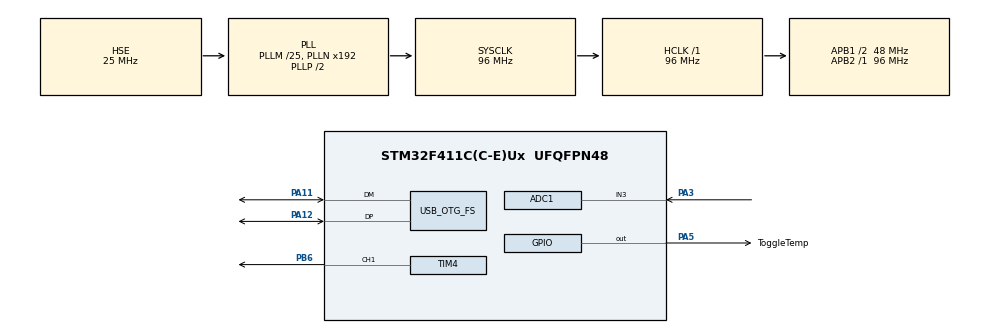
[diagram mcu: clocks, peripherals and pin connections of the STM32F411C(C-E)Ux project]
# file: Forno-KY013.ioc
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ADC1.Channel-3\#ChannelRegularConversion=ADC_CHANNEL_3
ADC1.NbrOfConversionFlag=1
ADC1.Rank-3\#ChannelRegularConversion=1
ADC1.Resolution=ADC_RESOLUTION_12B
ADC1.SamplingTime-3\#ChannelRegularConversion=ADC_SAMPLETIME_15CYCLES
ADC1.master=1
Mcu.Family=STM32F4
Mcu.Name=STM32F411C(C-E)Ux
Mcu.Package=UFQFPN48
NVIC.ADC_IRQn=true\:0\:0\:false\:false\:true\:true\:true\:true
NVIC.OTG_FS_IRQn=true\:0\:0\:false\:false\:true\:true\:true\:true
NVIC.PriorityGroup=NVIC_PRIORITYGROUP_4
NVIC.TIM4_IRQn=true\:0\:0\:false\:false\:true\:true\:true\:true
PA11.Mode=Device_Only
PA11.Signal=USB_OTG_FS_DM
PA12.Mode=Device_Only
PA12.Signal=USB_OTG_FS_DP
PA13.Mode=Serial_Wire
PA13.Signal=SYS_JTMS-SWDIO
PA14.Mode=Serial_Wire
PA14.Signal=SYS_JTCK-SWCLK
PA3.Signal=ADCx_IN3
PA5.GPIO_Label=ToggleTemp
PA5.Signal=GPIO_Output
PB6.Signal=S_TIM4_CH1
PC14-OSC32_IN.Mode=LSE-External-Oscillator
PC14-OSC32_IN.Signal=RCC_OSC32_IN
PC15-OSC32_OUT.Mode=LSE-External-Oscillator
PC15-OSC32_OUT.Signal=RCC_OSC32_OUT
PH0\ -\ OSC_IN.Mode=HSE-External-Oscillator
PH0\ -\ OSC_IN.Signal=RCC_OSC_IN
PH1\ -\ OSC_OUT.Mode=HSE-External-Oscillator
PH1\ -\ OSC_OUT.Signal=RCC_OSC_OUT
ProjectManager.HeapSize=0x200
ProjectManager.StackSize=0x400
ProjectManager.TargetToolchain=Makefile
RCC.48MHZClocksFreq_Value=48000000
RCC.AHBFreq_Value=96000000
RCC.APB1CLKDivider=RCC_HCLK_DIV2
RCC.APB1Freq_Value=48000000
RCC.APB1TimFreq_Value=96000000
RCC.APB2Freq_Value=96000000
RCC.APB2TimFreq_Value=96000000
RCC.CortexFreq_Value=96000000
RCC.HCLKFreq_Value=96000000
RCC.HSE_VALUE=25000000
RCC.HSI_VALUE=16000000
RCC.PLLM=25
RCC.SYSCLKFreq_VALUE=96000000
RCC.SYSCLKSource=RCC_SYSCLKSOURCE_PLLCLK
RCC.VCOOutputFreq_Value=192000000
SH.ADCx_IN3.0=ADC1_IN3,IN3
SH.S_TIM4_CH1.0=TIM4_CH1,PWM Generation1 CH1
TIM4.Channel-PWM\ Generation1\ CH1=TIM_CHANNEL_1
TIM4.Period=10000
TIM4.Prescaler=9600-1
USB_DEVICE.CLASS_NAME_FS=CDC
USB_DEVICE.VirtualMode=Cdc
USB_DEVICE.VirtualModeFS=Cdc_FS
USB_OTG_FS.VirtualMode=Device_Only
VP_TIM4_VS_ClockSourceINT.Mode=Internal
VP_USB_DEVICE_VS_USB_DEVICE_CDC_FS.Mode=CDC_FS
board=custom

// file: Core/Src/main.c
/* USER CODE BEGIN Header */
/**
  ******************************************************************************
  * @file           : main.c
  * @brief          : Main program body
  ******************************************************************************
  * @attention
  *
  * Copyright (c) 2022 STMicroelectronics.
  * All rights reserved.
  *
  * This software is licensed under terms that can be found in the LICENSE file
  * in the root directory of this software component.
  * If no LICENSE file comes with this software, it is provided AS-IS.
  *
  ******************************************************************************
  */
/* USER CODE END Header */
#include "main.h"
#include "usb_device.h"

/* USER CODE BEGIN Includes */
#include "usbd_cdc_if.h"
#include "termistor.h"
#include <stdio.h>
/* USER CODE END Includes */

ADC_HandleTypeDef hadc1;

TIM_HandleTypeDef htim4;

/* USER CODE BEGIN PV */
int segundos;
float KErro = 1, ErroTemp, ValTemp, ValTemp_mV;
uint8_t bufferS[64], bufferT[64], LimTemp = 45;
uint16_t ValTempADC;

/* USER CODE END PV */

void SystemClock_Config(void);
static void MX_GPIO_Init(void);
static void MX_ADC1_Init(void);
static void MX_TIM4_Init(void);

int main(void)
{

  /* MCU Configuration--------------------------------------------------------*/

  /* Reset of all peripherals, Initializes the Flash interface and the Systick. */
  HAL_Init();

  /* Configure the system clock */
  SystemClock_Config();

  /* Initialize all configured peripherals */
  MX_GPIO_Init();
  MX_USB_DEVICE_Init();
  MX_ADC1_Init();
  MX_TIM4_Init();
  /* USER CODE BEGIN 2 */
  HAL_TIM_PWM_Start(&htim4, TIM_CHANNEL_1); // Inicia o PWM no canal 1 (CCR1)
  HAL_TIM_Base_Start_IT(&htim4); // Permite que o Timer 3 faça interrupções periódicas (configurado para cada 1000ms)
  /* USER CODE END 2 */

  /* Infinite loop */
  /* USER CODE BEGIN WHILE */
  while (1)
  {
    // Altera Limites de Temperatura via USB CDC:
    if (bufferS[0] != 0)
      LimTemp += (bufferS[0] == 43)*(5)+(bufferS[0] == 45)*(-5);
      // Reduzindo qtde ifs usando aritmética booleana, visando diminuir tempo de execução

    bufferS[0] = 0; // Estranhamente necessario zerar o bufferS para nova leitura apesar de ja ser feito na rotina de recepção do CDC

    /* USER CODE END WHILE */

  }
}

void SystemClock_Config(void)
{
  RCC_OscInitTypeDef RCC_OscInitStruct = {0};
  RCC_ClkInitTypeDef RCC_ClkInitStruct = {0};

  /** Configure the main internal regulator output voltage
  */
  __HAL_RCC_PWR_CLK_ENABLE();
  __HAL_PWR_VOLTAGESCALING_CONFIG(PWR_REGULATOR_VOLTAGE_SCALE1);

  /** Initializes the RCC Oscillators according to the specified parameters
  * in the RCC_OscInitTypeDef structure.
  */
  RCC_OscInitStruct.OscillatorType = RCC_OSCILLATORTYPE_HSE;
  RCC_OscInitStruct.HSEState = RCC_HSE_ON;
  RCC_OscInitStruct.PLL.PLLState = RCC_PLL_ON;
  RCC_OscInitStruct.PLL.PLLSource = RCC_PLLSOURCE_HSE;
  RCC_OscInitStruct.PLL.PLLM = 25;
  RCC_OscInitStruct.PLL.PLLN = 192;
  RCC_OscInitStruct.PLL.PLLP = RCC_PLLP_DIV2;
  RCC_OscInitStruct.PLL.PLLQ = 4;
  if (HAL_RCC_OscConfig(&RCC_OscInitStruct) != HAL_OK)
  {
    Error_Handler();
  }

  /** Initializes the CPU, AHB and APB buses clocks
  */
  RCC_ClkInitStruct.ClockType = RCC_CLOCKTYPE_HCLK|RCC_CLOCKTYPE_SYSCLK
                              |RCC_CLOCKTYPE_PCLK1|RCC_CLOCKTYPE_PCLK2;
  RCC_ClkInitStruct.SYSCLKSource = RCC_SYSCLKSOURCE_PLLCLK;
  RCC_ClkInitStruct.AHBCLKDivider = RCC_SYSCLK_DIV1;
  RCC_ClkInitStruct.APB1CLKDivider = RCC_HCLK_DIV2;
  RCC_ClkInitStruct.APB2CLKDivider = RCC_HCLK_DIV1;

  if (HAL_RCC_ClockConfig(&RCC_ClkInitStruct, FLASH_LATENCY_3) != HAL_OK)
  {
    Error_Handler();
  }
}

static void MX_ADC1_Init(void)
{

  ADC_ChannelConfTypeDef sConfig = {0};

  /** Configure the global features of the ADC (Clock, Resolution, Data Alignment and number of conversion)
  */
  hadc1.Instance = ADC1;
  hadc1.Init.ClockPrescaler = ADC_CLOCK_SYNC_PCLK_DIV4;
  hadc1.Init.Resolution = ADC_RESOLUTION_12B;
  hadc1.Init.ScanConvMode = DISABLE;
  hadc1.Init.ContinuousConvMode = DISABLE;
  hadc1.Init.DiscontinuousConvMode = DISABLE;
  hadc1.Init.ExternalTrigConvEdge = ADC_EXTERNALTRIGCONVEDGE_NONE;
  hadc1.Init.ExternalTrigConv = ADC_SOFTWARE_START;
  hadc1.Init.DataAlign = ADC_DATAALIGN_RIGHT;
  hadc1.Init.NbrOfConversion = 1;
  hadc1.Init.DMAContinuousRequests = DISABLE;
  hadc1.Init.EOCSelection = ADC_EOC_SINGLE_CONV;
  if (HAL_ADC_Init(&hadc1) != HAL_OK)
  {
    Error_Handler();
  }

  /** Configure for the selected ADC regular channel its corresponding rank in the sequencer and its sample time.
  */
  sConfig.Channel = ADC_CHANNEL_3;
  sConfig.Rank = 1;
  sConfig.SamplingTime = ADC_SAMPLETIME_15CYCLES;
  if (HAL_ADC_ConfigChannel(&hadc1, &sConfig) != HAL_OK)
  {
    Error_Handler();
  }

}

static void MX_TIM4_Init(void)
{

  TIM_ClockConfigTypeDef sClockSourceConfig = {0};
  TIM_MasterConfigTypeDef sMasterConfig = {0};
  TIM_OC_InitTypeDef sConfigOC = {0};

  htim4.Instance = TIM4;
  htim4.Init.Prescaler = 9600-1;
  htim4.Init.CounterMode = TIM_COUNTERMODE_UP;
  htim4.Init.Period = 10000;
  htim4.Init.ClockDivision = TIM_CLOCKDIVISION_DIV1;
  htim4.Init.AutoReloadPreload = TIM_AUTORELOAD_PRELOAD_DISABLE;
  if (HAL_TIM_Base_Init(&htim4) != HAL_OK)
  {
    Error_Handler();
  }
  sClockSourceConfig.ClockSource = TIM_CLOCKSOURCE_INTERNAL;
  if (HAL_TIM_ConfigClockSource(&htim4, &sClockSourceConfig) != HAL_OK)
  {
    Error_Handler();
  }
  if (HAL_TIM_PWM_Init(&htim4) != HAL_OK)
  {
    Error_Handler();
  }
  sMasterConfig.MasterOutputTrigger = TIM_TRGO_RESET;
  sMasterConfig.MasterSlaveMode = TIM_MASTERSLAVEMODE_DISABLE;
  if (HAL_TIMEx_MasterConfigSynchronization(&htim4, &sMasterConfig) != HAL_OK)
  {
    Error_Handler();
  }
  sConfigOC.OCMode = TIM_OCMODE_PWM1;
  sConfigOC.Pulse = 0;
  sConfigOC.OCPolarity = TIM_OCPOLARITY_HIGH;
  sConfigOC.OCFastMode = TIM_OCFAST_DISABLE;
  if (HAL_TIM_PWM_ConfigChannel(&htim4, &sConfigOC, TIM_CHANNEL_1) != HAL_OK)
  {
    Error_Handler();
  }
  HAL_TIM_MspPostInit(&htim4);

}

static void MX_GPIO_Init(void)
{
  GPIO_InitTypeDef GPIO_InitStruct = {0};

  /* GPIO Ports Clock Enable */
  __HAL_RCC_GPIOC_CLK_ENABLE();
  __HAL_RCC_GPIOH_CLK_ENABLE();
  __HAL_RCC_GPIOA_CLK_ENABLE();
  __HAL_RCC_GPIOB_CLK_ENABLE();

  /*Configure GPIO pin Output Level */
  HAL_GPIO_WritePin(ToggleTemp_GPIO_Port, ToggleTemp_Pin, GPIO_PIN_RESET);

  /*Configure GPIO pin : ToggleTemp_Pin */
  GPIO_InitStruct.Pin = ToggleTemp_Pin;
  GPIO_InitStruct.Mode = GPIO_MODE_OUTPUT_PP;
  GPIO_InitStruct.Pull = GPIO_NOPULL;
  GPIO_InitStruct.Speed = GPIO_SPEED_FREQ_LOW;
  HAL_GPIO_Init(ToggleTemp_GPIO_Port, &GPIO_InitStruct);

}

/* USER CODE BEGIN 4 */
void HAL_TIM_PeriodElapsedCallback (TIM_HandleTypeDef * htim) // É chamada à cada 1000ms == 1s
{
  if (htim->Instance == TIM4)
  {
    segundos++;

    // Leitura de Temperatura via ADC:
    HAL_GPIO_WritePin(GPIOA, ToggleTemp_Pin, 1); // Sinaliza inicio de leitura temp

    HAL_ADC_Start(&hadc1); // Inicia a conversão AD
    HAL_ADC_PollForConversion(&hadc1, 100); // Aguarda a conversão completar (timeout 100ms)
    ValTempADC = HAL_ADC_GetValue(&hadc1); // Lê o valor convertido (0-4095)

    //HAL_GPIO_WritePin(GPIOA, ToggleTemp_Pin, 0); // Sinaliza fim de leitura temp

    // Converte o valor lido para temperatura em graus Celsius
    ValTemp_mV = ((ValTempADC) / 4095.0) * 3300.0; // Converte para milivolts (considerando Vref = 3.3V)
    ValTemp = DividerVoltageToDegreesCelsius(3300.0, ValTemp_mV); // Calcula a temperatura

    ErroTemp = LimTemp - ValTemp;

    //Lida com os valores lidos de temperatura:
    if ((ValTemp >= (LimTemp+2)) || ((KErro*ErroTemp) < 0)) // Excesso de temperatura
      htim4.Instance->CCR1 = 0; // 0% Duty Cycle
    else if ((ValTemp <= (LimTemp-2)) || ((KErro*ErroTemp) > 100)) // Muito abaixo da temperatura
      htim4.Instance->CCR1 = htim4.Instance->ARR; // 100% Duty Cycle
    else // Controle Proporcional
      htim4.Instance->CCR1 = KErro*ErroTemp*(htim4.Instance->ARR); // Ajusta o Duty Cycle proporcionalmente ao erro de temperatura

    // Envia os dados via USB CDC
    sprintf(bufferT, "%d ; %d ; %d ;\r\n", segundos, ((int) ValTemp), LimTemp);
    CDC_Transmit_FS(bufferT, strlen(bufferT));
  }
}
/* USER CODE END 4 */

void Error_Handler(void)
{
  __disable_irq();
  while (1)
  {
  }
}
